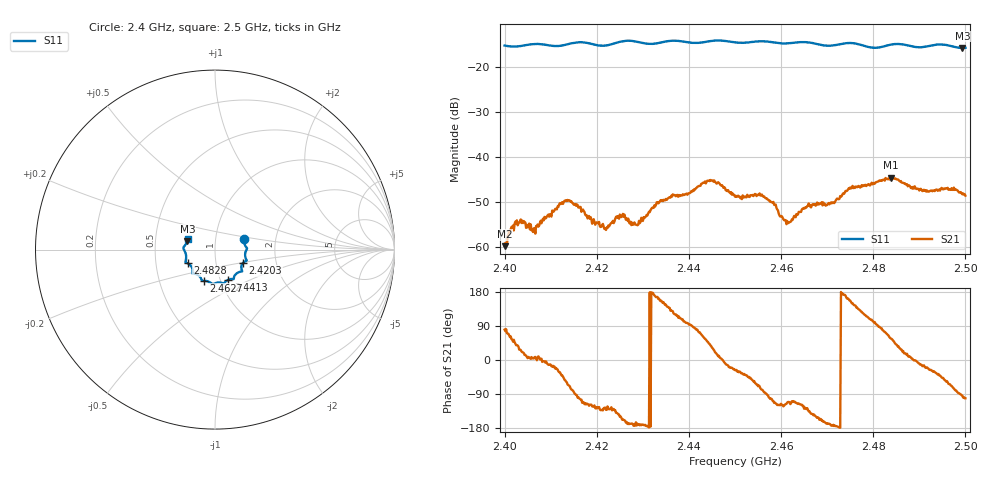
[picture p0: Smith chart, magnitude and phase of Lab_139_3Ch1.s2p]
# Hz S RI R 50
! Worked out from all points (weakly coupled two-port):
!   601 points, 2.4 GHz to 2.5 GHz, reference 50 ohm
!   highest |S21| = -44.66 dB at 2.4838 GHz (marker M1); lowest = -59.9 dB at 2.4 GHz (marker M2)
!   lowest |S11| = -15.8 dB at 2.4993 GHz (marker M3), VSWR 1.38, Z = 36.5 + j3.6 ohm
!   |S11| at or under -10 dB: start of sweep to end of sweep
!   S12 and S22 are empty: the file has one direction only
!   S11 on the Smith chart (normalised r, x): 2.4 GHz: 1.37, +0.17; 2.4203 GHz: 1.35, -0.20; 2.4413 GHz: 1.09, -0.38; 2.4627 GHz: 0.83, -0.30; 2.4828 GHz: 0.73, -0.11; 2.5 GHz: 0.73, +0.09
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2.4e9  0.1615 0.0584  0.000173 0.001  0 0  0 0
2.402667e9  0.1652 0.0292  0.00152 0.00125  0 0  0 0
2.406333e9  0.1784 0.00831  0.0016 0.000113  0 0  0 0
2.4135e9  0.1705 -0.0466  0.00167 -0.00276  0 0  0 0
2.416667e9  0.1764 -0.0623  -0.000618 -0.00237  0 0  0 0
2.420333e9  0.156 -0.0733  -0.00104 -0.00149  0 0  0 0
2.422167e9  0.1474 -0.0899  -0.00109 -0.00123  0 0  0 0
2.4255e9  0.1509 -0.1177  -0.00204 -0.000845  0 0  0 0
2.428833e9  0.1435 -0.123  -0.0017 -0.000355  0 0  0 0
2.433333e9  0.1077 -0.1479  -0.00287 0.000971  0 0  0 0
2.441333e9  0.0751 -0.1674  0.000527 0.0043  0 0  0 0
2.445167e9  0.0514 -0.187  0.0047 0.00278  0 0  0 0
2.45e9  0.0303 -0.1837  0.00322 -0.00162  0 0  0 0
2.455833e9  -0.0117 -0.1914  0.000774 -0.00373  0 0  0 0
2.461e9  -0.0475 -0.175  -0.000881 -0.00177  0 0  0 0
2.462667e9  -0.0615 -0.1739  -0.000667 -0.00199  0 0  0 0
2.466667e9  -0.0743 -0.1682  -0.00227 -0.00177  0 0  0 0
2.482833e9  -0.1528 -0.0767  0.00194 0.00538  0 0  0 0
2.483333e9  -0.1565 -0.075  0.0025 0.0052  0 0  0 0
2.483833e9  -0.1596 -0.0741  0.00321 0.00488  0 0  0 0
2.499333e9  -0.154 0.0481  -0.000245 -0.00382  0 0  0 0
2.5e9  -0.1519 0.0571  -0.000701 -0.00363  0 0  0 0
